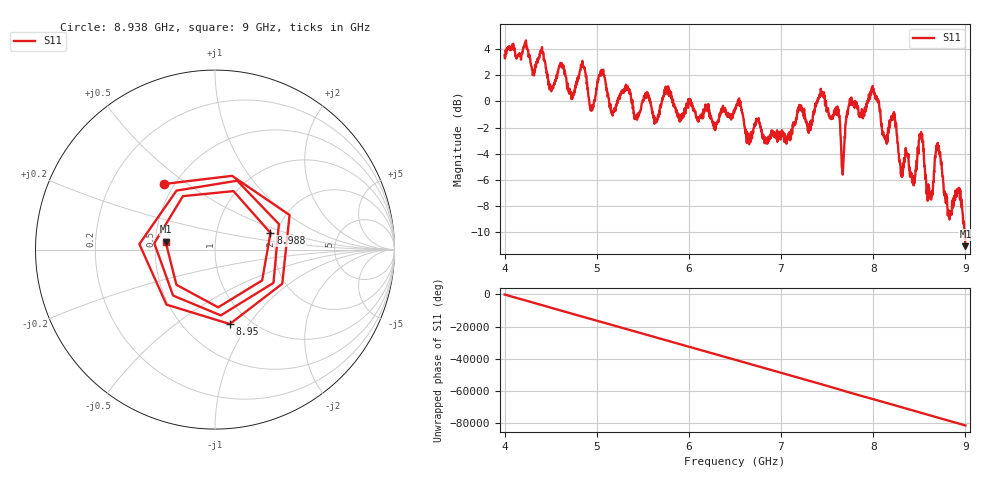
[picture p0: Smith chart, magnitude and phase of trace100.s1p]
! Created with skrf 1.8.0 (http://scikit-rf.org).
# Hz S RI R 50.0
!freq ReS11 ImS11
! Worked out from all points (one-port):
!   1601 points, 4 GHz to 9 GHz, reference 50 ohm
!   lowest |S11| = -11.1 dB at 9 GHz (marker M1), VSWR 1.77, Z = 28.3 + j2.73 ohm
!   |S11| at or under -10 dB: 8.990169 GHz to 8.9919 GHz (1.731 MHz wide, 0.0193 % of centre); 8.994542 GHz to end of sweep
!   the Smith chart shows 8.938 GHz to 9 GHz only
!   S11 on the Smith chart (normalised r, x): 8.938 GHz: 0.44, +0.41; 8.95 GHz: 0.81, -0.82; 8.988 GHz: 1.84, +0.38; 9 GHz: 0.57, +0.05
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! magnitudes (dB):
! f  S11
! 4 GHz  3.5
! 4.506 GHz  0.8
! 4.625 GHz  2.6
! 4.734 GHz  0.2
! 4.853 GHz  2.7
! 4.944 GHz  -0.6
! 5.047 GHz  2.0
! 5.162 GHz  -0.9
! 5.25 GHz  0.2
! 5.875 GHz  -1.1
! 6.5 GHz  -0.7
! 6.647 GHz  -3.0
! 7.125 GHz  -1.8
! 7.447 GHz  0.7
! 7.616 GHz  -0.6
! 7.669 GHz  -5.6
! 7.75 GHz  0.2
! 7.994 GHz  1.2
! 8.375 GHz  -4.3
! 8.438 GHz  -6.4
! 8.519 GHz  -2.3
! 8.616 GHz  -6.9
! 8.703 GHz  -3.6
! 8.828 GHz  -9.0
! 8.938 GHz  -6.7
! 8.95 GHz  -7.5
! 8.988 GHz  -9.8
! 9 GHz  -11.1
